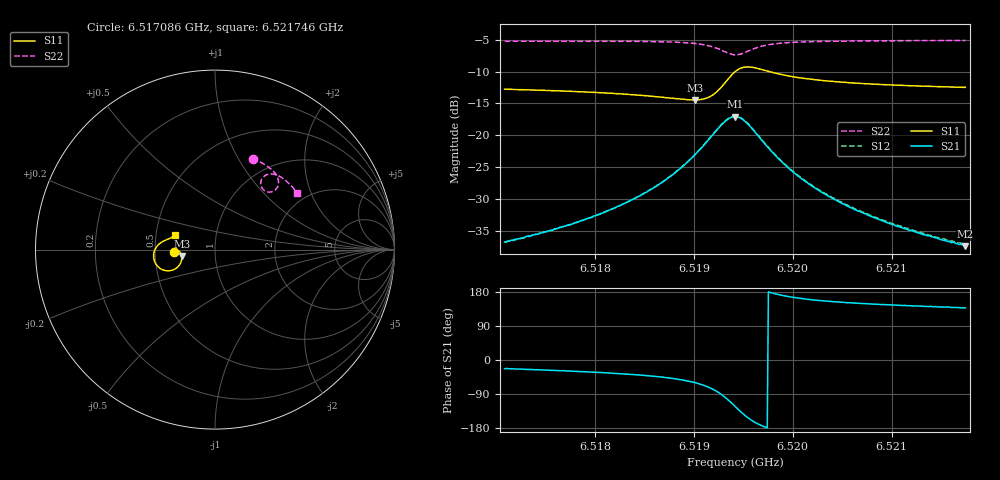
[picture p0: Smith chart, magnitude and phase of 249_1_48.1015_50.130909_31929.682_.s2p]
#  HZ  S  RI  R  50.00
! Rohde & Schwarz Vector Network Analyzer
! Rohde-Schwarz,ZNB20-2Port,1311601062101988,3.16
! Created: UTC 12/23/2023, 3:59:34 AM
! freq[Hz]  re:S11  im:S11  re:S21  im:S21  re:S12  im:S12  re:S22  im:S22
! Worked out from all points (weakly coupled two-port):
!   401 points, 6.517086 GHz to 6.521746 GHz, reference 50 ohm
!   highest |S21| = -17.07 dB at 6.519416 GHz (marker M1); lowest = -37.4 dB at 6.521746 GHz (marker M2)
!   lowest |S11| = -14.5 dB at 6.519008 GHz (marker M3), VSWR 1.47, Z = 34.3 - j2.56 ohm
!   |S11| at or under -10 dB: start of sweep to 6.519418 GHz; 6.519766 GHz to end of sweep
!   |S22| runs from -7.4 to -5.1 dB; largest |S21 - S12| = 0.0042
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6.5170859e9  -0.2297 -0.0154  0.0133 -0.0057  0.0135 -0.00503  0.2092 0.507
6.5174354e9  -0.2257 -0.0104  0.0152 -0.00728  0.0155 -0.0069  0.235 0.4961
6.5178665e9  -0.2194 -0.00547  0.0184 -0.011  0.0187 -0.0104  0.2668 0.4794
6.5182743e9  -0.2112 -0.00371  0.0229 -0.017  0.0235 -0.0163  0.2973 0.46
6.5186471e9  -0.1999 -0.00867  0.0294 -0.0286  0.0304 -0.0279  0.3263 0.4352
6.5188336e9  -0.1925 -0.0177  0.0333 -0.0405  0.0349 -0.0398  0.3408 0.4171
6.5190083e9  -0.1858 -0.0361  0.0354 -0.0602  0.0375 -0.0595  0.3519 0.3922
6.5191132e9  -0.1859 -0.0559  0.0321 -0.0794  0.0347 -0.0789  0.3541 0.3707
6.5191947e9  -0.1931 -0.0778  0.0221 -0.0992  0.0252 -0.0992  0.3489 0.3502
6.5193229e9  -0.2367 -0.1144  -0.0222 -0.128  -0.0187 -0.1296  0.315 0.3217
6.5193695e9  -0.265 -0.1182  -0.0484 -0.1285  -0.0449 -0.1308  0.2945 0.3211
6.5194161e9  -0.2953 -0.1106  -0.0746 -0.1187  -0.0717 -0.1216  0.2745 0.3296
6.5194627e9  -0.3206 -0.0917  -0.0951 -0.0994  -0.093 -0.1027  0.2602 0.346
6.519521e9  -0.3386 -0.0597  -0.1074 -0.0693  -0.1062 -0.073  0.2544 0.3707
6.5196142e9  -0.3391 -0.0132  -0.1027 -0.0294  -0.1028 -0.0328  0.2665 0.4017
6.519719e9  -0.323 0.0189  -0.0854 -0.00469  -0.0861 -0.00723  0.2897 0.4177
6.5199637e9  -0.2882 0.0469  -0.0531 0.0124  -0.0542 0.0111  0.3329 0.419
6.5201967e9  -0.269 0.0556  -0.0371 0.0143  -0.0381 0.0134  0.3602 0.4081
6.5205579e9  -0.2516 0.0625  -0.0242 0.0134  -0.0251 0.0127  0.3902 0.3877
6.5209774e9  -0.2394 0.0686  -0.0167 0.0114  -0.0173 0.0112  0.4177 0.3627
6.5214318e9  -0.2298 0.0747  -0.0122 0.00992  -0.0127 0.00983  0.4427 0.3349
6.5217463e9  -0.2243 0.079  -0.00995 0.00903  -0.0105 0.00909  0.4578 0.3154
